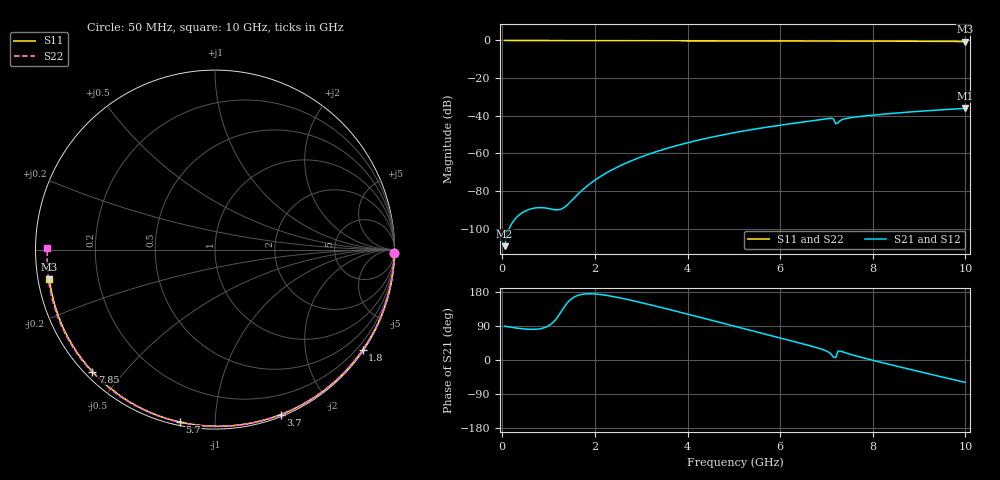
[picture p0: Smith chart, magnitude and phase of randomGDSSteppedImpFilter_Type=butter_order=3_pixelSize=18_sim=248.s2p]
! freq	dB(S11)	phase(S11)	dB(S12)	phase(S12)
!  dB(S21)	phase(S21)	dB(S22)	phase(S22)
!S-par simulation data
#  GHz  S  DB  R 50
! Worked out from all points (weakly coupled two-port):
!   200 points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, 50 MHz to 10 GHz, reference 50 ohm
!   highest |S21| = -36.13 dB at 10 GHz (marker M1); lowest = -109.4 dB at 50 MHz (marker M2)
!   lowest |S11| = -0.6 dB at 10 GHz (marker M3), VSWR 30.70, Z = 1.64 - j4.45 ohm
!   |S11| at or under -10 dB: nowhere
!   |S22| runs from -0.6 to 0.0 dB; largest |S21 - S12| = 0
!   S11 on the Smith chart (normalised r, x): 50 MHz: open; 1.8 GHz: 0.03, -3.25; 3.7 GHz: 0.02, -1.47; 5.7 GHz: 0.02, -0.82; 7.85 GHz: 0.02, -0.41; 10 GHz: 0.03, -0.09
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0.05  -0.00 -1.0  -109.35 89.0  -109.35 89.0  -0.00 -1.0
0.85  -0.02 -16.3  -88.87 83.2  -88.87 83.2  -0.02 -17.3
1.7  -0.04 -32.4  -80.18 172.8  -80.18 172.8  -0.04 -34.3
1.75  -0.04 -33.3  -79.07 173.8  -79.07 173.8  -0.04 -35.3
1.8  -0.04 -34.2  -78.02 174.5  -78.02 174.5  -0.05 -36.3
2.1  -0.05 -39.8  -72.62 173.1  -72.62 173.1  -0.05 -42.2
2.45  -0.06 -46.2  -67.75 166.2  -67.75 166.2  -0.06 -48.9
2.9  -0.07 -54.3  -62.84 154.3  -62.84 154.3  -0.07 -57.5
3.4  -0.08 -63.1  -58.53 139.6  -58.53 139.6  -0.09 -66.8
3.7  -0.09 -68.3  -56.34 130.4  -56.34 130.4  -0.10 -72.3
4.35  -0.11 -79.4  -52.33 110.1  -52.33 110.1  -0.12 -84.0
5.05  -0.14 -91.0  -48.84 88.1  -48.84 88.1  -0.15 -96.2
5.7  -0.17 -101.5  -46.15 67.7  -46.15 67.7  -0.18 -107.3
6.7  -0.23 -117.3  -42.69 35.7  -42.69 35.7  -0.24 -124.0
7.1  -0.26 -123.6  -41.32 15.9  -41.32 15.9  -0.28 -130.7
7.15  -0.27 -124.4  -41.65 7.6  -41.65 7.6  -0.29 -131.6
7.2  -0.29 -125.1  -44.31 6.2  -44.31 6.2  -0.32 -132.3
7.4  -0.28 -128.2  -41.60 19.4  -41.60 19.4  -0.30 -135.5
7.85  -0.32 -135.2  -40.07 4.0  -40.07 4.0  -0.34 -143.0
8.35  -0.37 -143.0  -38.92 -11.3  -38.92 -11.3  -0.39 -151.4
9.2  -0.46 -156.5  -37.32 -36.3  -37.32 -36.3  -0.49 -166.0
10  -0.57 -169.8  -36.13 -59.2  -36.13 -59.2  -0.59 179.5
